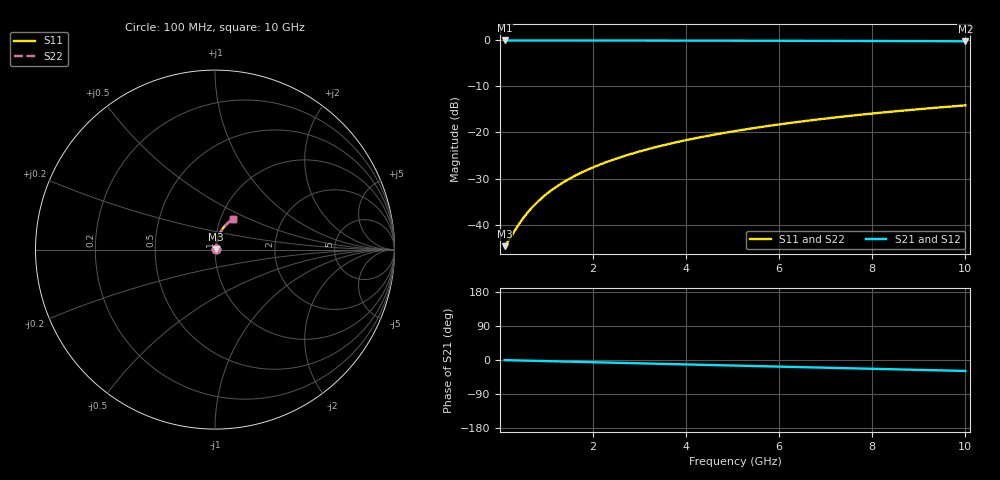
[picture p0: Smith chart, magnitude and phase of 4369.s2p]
# Hz S RI R 50.00
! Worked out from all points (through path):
!   100 points, 100 MHz to 10 GHz, reference 50 ohm
!   highest |S21| = -0.05 dB at 100 MHz (marker M1); lowest = -0.2 dB at 10 GHz (marker M2)
!   group delay of S21, straight-line fit = 8.03 ps
!   lowest |S11| = -44.7 dB at 100 MHz (marker M3), VSWR 1.01, Z = 50.6 + j0.207 ohm
!   |S11| at or under -10 dB: start of sweep to end of sweep
!   |S22| runs from -44.7 to -14.1 dB; largest |S21 - S12| = 0
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1e8  0.00548 0.00205  0.9945 -0.00507  0.9945 -0.00507  0.00548 0.00205
2e8  0.00555 0.0041  0.9944 -0.0101  0.9944 -0.0101  0.00555 0.0041
4e8  0.00572 0.0082  0.9942 -0.0203  0.9942 -0.0203  0.00572 0.0082
5e8  0.00583 0.0102  0.994 -0.0253  0.994 -0.0253  0.00583 0.0102
6e8  0.00596 0.0123  0.9939 -0.0304  0.9939 -0.0304  0.00596 0.0123
7e8  0.00611 0.0143  0.9936 -0.0355  0.9936 -0.0355  0.00611 0.0143
8e8  0.00628 0.0164  0.9934 -0.0405  0.9934 -0.0405  0.00628 0.0164
1e9  0.00668 0.0205  0.9928 -0.0507  0.9928 -0.0507  0.00668 0.0205
1.2e9  0.00716 0.0245  0.9921 -0.0608  0.9921 -0.0608  0.00716 0.0245
1.5e9  0.00803 0.0306  0.9909 -0.0759  0.9909 -0.0759  0.00803 0.0306
1.8e9  0.00908 0.0366  0.9894 -0.091  0.9894 -0.091  0.00908 0.0366
2.1e9  0.0103 0.0427  0.9876 -0.1061  0.9876 -0.1061  0.0103 0.0427
2.5e9  0.0122 0.0506  0.9848 -0.1261  0.9848 -0.1261  0.0122 0.0506
2.9e9  0.0145 0.0585  0.9816 -0.1461  0.9816 -0.1461  0.0145 0.0585
3.4e9  0.0177 0.0681  0.9769 -0.1708  0.9769 -0.1708  0.0177 0.0681
4.2e9  0.0239 0.0832  0.9678 -0.2101  0.9678 -0.2101  0.0239 0.0832
5.1e9  0.0323 0.0994  0.9556 -0.2535  0.9556 -0.2535  0.0323 0.0994
5.9e9  0.041 0.1131  0.9428 -0.2913  0.9428 -0.2913  0.041 0.1131
6.7e9  0.0506 0.126  0.9284 -0.3283  0.9284 -0.3283  0.0506 0.126
7.5e9  0.0613 0.1381  0.9125 -0.3645  0.9125 -0.3645  0.0613 0.1381
8.4e9  0.0743 0.1505  0.8927 -0.4039  0.8927 -0.4039  0.0743 0.1505
1e10  0.0999 0.1694  0.8532 -0.4708  0.8532 -0.4708  0.0999 0.1694
